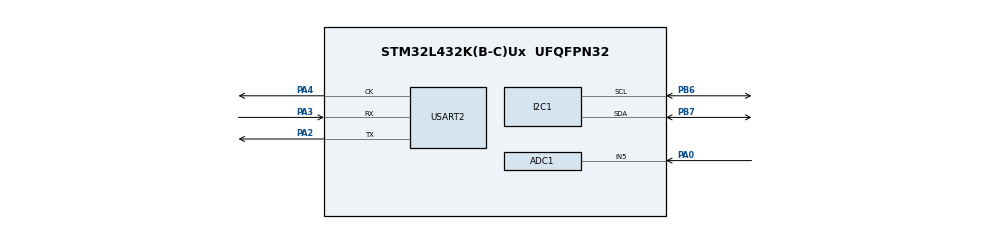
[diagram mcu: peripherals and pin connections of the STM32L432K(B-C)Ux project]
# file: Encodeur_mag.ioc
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ADC1.Channel-0\#ChannelRegularConversion=ADC_CHANNEL_5
ADC1.NbrOfConversionFlag=1
ADC1.OffsetNumber-0\#ChannelRegularConversion=ADC_OFFSET_NONE
ADC1.Rank-0\#ChannelRegularConversion=1
ADC1.SamplingTime-0\#ChannelRegularConversion=ADC_SAMPLETIME_2CYCLES_5
ADC1.master=1
Mcu.Family=STM32L4
Mcu.Name=STM32L432K(B-C)Ux
Mcu.Package=UFQFPN32
NVIC.PriorityGroup=NVIC_PRIORITYGROUP_4
PA0.Signal=ADCx_IN5
PA2.Mode=Synchronous
PA2.Signal=USART2_TX
PA3.Mode=Synchronous
PA3.Signal=USART2_RX
PA4.Mode=Synchronous
PA4.Signal=USART2_CK
PB6.Mode=I2C
PB6.Signal=I2C1_SCL
PB7.Mode=I2C
PB7.Signal=I2C1_SDA
ProjectManager.HeapSize=0x200
ProjectManager.StackSize=0x400
ProjectManager.TargetToolchain=STM32CubeIDE
RCC.HSE_VALUE=8000000
RCC.HSI48_VALUE=48000000
RCC.HSI_VALUE=16000000
RCC.LSE_VALUE=32768
RCC.MSI_VALUE=4000000
RCC.VCOOutputFreq_Value=32000000
SH.ADCx_IN5.0=ADC1_IN5,IN5-Single-Ended
USART2.VirtualMode-Synchronous=VM_SYNC
board=custom

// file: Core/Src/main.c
/* USER CODE BEGIN Header */
/**
  ******************************************************************************
  * @file           : main.c
  * @brief          : Main program body
  ******************************************************************************
  * @attention
  *
  * Copyright (c) 2024 STMicroelectronics.
  * All rights reserved.
  *
  * This software is licensed under terms that can be found in the LICENSE file
  * in the root directory of this software component.
  * If no LICENSE file comes with this software, it is provided AS-IS.
  *
  ******************************************************************************
  */
/* USER CODE END Header */
#include "main.h"

/* USER CODE BEGIN Includes */
#include <string.h>
#include <stdio.h>
#include <stdbool.h>

#include "as5600.h"

/* USER CODE END Includes */

ADC_HandleTypeDef hadc1;

I2C_HandleTypeDef hi2c1;
#define AS5600_I2C &hi2c1

USART_HandleTypeDef husart2;

/* USER CODE BEGIN PV */
static const uint8_t AS5600 = 0x36 << 1;

static const uint8_t ZPOS = 0x01;

static const uint8_t RAW_ANGLE = 0x0C;

static const uint8_t ANGLE = 0x0E;

static const uint8_t MANG = 0x05;

static const uint8_t MPOS = 0x03;

static const uint8_t BURN_ANGLE = 0x80;
static const uint8_t BURN_SETTINGS = 0x40;
static const uint8_t BURN = 0xFF;

static const uint8_t STATUS = 0x0B;

uint16_t angle=0;
char msg[20];

/* USER CODE END PV */

void SystemClock_Config(void);
static void MX_GPIO_Init(void);
static void MX_ADC1_Init(void);
static void MX_I2C1_Init(void);
static void MX_USART2_Init(void);
/* USER CODE BEGIN PFP */
uint32_t const my_i2c_xfer(uint8_t const, uint8_t const * const, size_t const, uint8_t * const,size_t const);
/* USER CODE END PFP */

int main(void)
{
  /* USER CODE BEGIN 1 */
	uint16_t raw_angle;

	uint16_t raw_data;
	uint16_t lowbyte;
	uint16_t highbyte;
	HAL_StatusTypeDef ret;
	uint16_t buf[12];
	int16_t val;

  /* USER CODE END 1 */

  /* MCU Configuration--------------------------------------------------------*/

  /* Reset of all peripherals, Initializes the Flash interface and the Systick. */
  HAL_Init();

  /* Configure the system clock */
  SystemClock_Config();

  /* Initialize all configured peripherals */
  MX_GPIO_Init();
  MX_ADC1_Init();
  MX_I2C1_Init();
  MX_USART2_Init();
  /* USER CODE BEGIN 2 */
  as5600_error_t result = as5600_init(my_i2c_xfer);

  //Configuration des capteurs en i2c

  //	  Step 1 : Power up the AS5600
  //	  Step 2 : Turn the magnet to start position
  //	  Step 3 : Read RAW_ANGLE register

//  static const uint8_t maxAngleMsb = 0x04;
//  static const uint8_t maxAngleLsb = 0x00;
//
//  const uint8_t mang[2] = {maxAngleMsb, maxAngleLsb};
//  HAL_I2C_Mem_Write(AS5600_I2C, AS5600, MANG, 1, mang, 2, HAL_MAX_DELAY);
//  HAL_Delay(2);
//
//  HAL_I2C_Mem_Write(AS5600_I2C, AS5600, BURN, 1, BURN_SETTINGS, 1, HAL_MAX_DELAY);
//  HAL_Delay(2);
//
//  HAL_I2C_Mem_Write(AS5600_I2C, AS5600, BURN, 1, 0x01, 1, HAL_MAX_DELAY);
//  HAL_I2C_Mem_Write(AS5600_I2C, AS5600, BURN, 1, 0x11, 1, HAL_MAX_DELAY);
//  HAL_I2C_Mem_Write(AS5600_I2C, AS5600, BURN, 1, 0x10, 1, HAL_MAX_DELAY);
//
//  HAL_I2C_Mem_Read(AS5600_I2C, AS5600, MANG, 1, mang, 2, HAL_MAX_DELAY);
//  HAL_USART_Transmit(&husart2,mang, strlen((char*)mang), HAL_MAX_DELAY);
//
//  uint8_t rawAngle[2];
//  HAL_I2C_Mem_Read(AS5600_I2C, AS5600, RAW_ANGLE, 1, rawAngle, 2, HAL_MAX_DELAY);
//  val = ((int16_t)rawAngle[0] << 8 | rawAngle[1]);
//
//  sprintf((char*)rawAngle, "%u C\r\n", (unsigned int)val);
//  HAL_USART_Transmit(&husart2,rawAngle, strlen((char*)rawAngle), HAL_MAX_DELAY);
//
//  HAL_I2C_Mem_Write(AS5600_I2C, AS5600, ZPOS, 1, rawAngle, 2, HAL_MAX_DELAY);
//
//  HAL_Delay(2);
//
//  HAL_I2C_Mem_Read(AS5600_I2C, AS5600, RAW_ANGLE, 1, rawAngle, 2, HAL_MAX_DELAY);
//  HAL_I2C_Mem_Write(AS5600_I2C, AS5600, MPOS, 1, rawAngle, 2, HAL_MAX_DELAY);
//  HAL_Delay(2);
//
//  HAL_I2C_Mem_Write(AS5600_I2C, AS5600, BURN, 1, BURN_ANGLE, 1, HAL_MAX_DELAY);
//  HAL_Delay(2);
//
//  HAL_I2C_Mem_Write(AS5600_I2C, AS5600, BURN, 1, 0x01, 1, HAL_MAX_DELAY);
//  HAL_I2C_Mem_Write(AS5600_I2C, AS5600, BURN, 1, 0x11, 1, HAL_MAX_DELAY);
//  HAL_I2C_Mem_Write(AS5600_I2C, AS5600, BURN, 1, 0x10, 1, HAL_MAX_DELAY);
//  HAL_I2C_Mem_Read(AS5600_I2C, AS5600, ZPOS, 1, rawAngle, 2, HAL_MAX_DELAY);
//  HAL_USART_Transmit(&husart2,rawAngle, strlen((char*)rawAngle), HAL_MAX_DELAY);
//
//  HAL_I2C_Mem_Read(AS5600_I2C, AS5600, MPOS, 1, rawAngle, 2, HAL_MAX_DELAY);
//  HAL_USART_Transmit(&husart2,rawAngle, strlen((char*)rawAngle), HAL_MAX_DELAY);

  /* Infinite loop */
  /* USER CODE BEGIN WHILE */
  while (1)
  {
	  //Test seulement les valeurs raw analogique
	  HAL_ADC_Start(&hadc1);
	  HAL_ADC_PollForConversion(&hadc1, 20);
	  angle = HAL_ADC_GetValue(&hadc1);
	  sprintf(msg, "Angle: %hu \r\n", angle);
	  HAL_USART_Transmit(&husart2, (uint8_t *)msg, strlen(msg), HAL_MAX_DELAY);
	  HAL_Delay(200);

	  //Ancien code i2c pour test

	  // Know the value of the raw angle at this moment
//	  as5600_get_raw_angle(&raw_angle);

	  // Convert to string and print
//  	  uint8_t rawAngle[2];
//  	  HAL_I2C_Mem_Read(AS5600_I2C, AS5600, ANGLE, 1, rawAngle, 2, HAL_MAX_DELAY);
//  	  val = ((int16_t)rawAngle[0] << 8 | rawAngle[1]);
//
//	  sprintf((char*)buf, "%hu\r\n", val);
//	  HAL_USART_Transmit(&husart2, buf, strlen((char*)buf), HAL_MAX_DELAY);

//	  HAL_Delay(3000);

//	  as5600_get_angle(&angle);

//	  sprintf((char*)buf, "%hu\r\n", angle);
//	  HAL_USART_Transmit(&husart2, buf, strlen((char*)buf), HAL_MAX_DELAY);

//	  HAL_Delay(100);
//
//	  as5600_error_t as5600_set_start_position(uint16_t const start_position);
//
//	  HAL_Delay(2);
//
//	  as5600_error_t as5600_get_start_position(uint16_t * const p_start_position);

	  // Convert to string and print
//	  sprintf((char*)buf, "%hu\r\n", raw_data);
//	  HAL_USART_Transmit(&husart2, buf, strlen((char*)buf), HAL_MAX_DELAY);
//
//	  HAL_Delay(5000);

	  // Turn the magnet in the CCW direction to reach the final position

	  // Know the value of the raw angle at this moment
//	  as5600_error_t as5600_get_raw_angle(uint16_t * const p_raw_angle);

	  // Convert to string and print
//	  sprintf((char*)buf, "%hu\r\n", raw_data);
//	  HAL_USART_Transmit(&husart2, buf, strlen((char*)buf), HAL_MAX_DELAY);
//
//	  HAL_Delay(3000);

//	  as5600_error_t as5600_set_stop_position(uint16_t const stop_position);
//
//	  HAL_Delay(2);
//
//	  as5600_error_t as5600_get_stop_position(uint16_t * const stop_position);

	  // Convert to string and print
//	  sprintf((char*)buf, "%hu\r\n", raw_data);
//	  HAL_USART_Transmit(&husart2, buf, strlen((char*)buf), HAL_MAX_DELAY);
//
//	  HAL_Delay(3000);
//	  as5600_error_t as5600_set_output_stage(as5600_output_stage_t const output_stage, as5600_configuration_t * const p_config);

//////////////////////////////////////////////////////////////////////////////////

//////////////////////////////////////////////////////////////////////////////////////
//
//	  HAL_USART_Transmit(&husart2,buf, strlen((char*)buf), HAL_MAX_DELAY);

    /* USER CODE END WHILE */

  }
}

void SystemClock_Config(void)
{
  RCC_OscInitTypeDef RCC_OscInitStruct = {0};
  RCC_ClkInitTypeDef RCC_ClkInitStruct = {0};

  /** Configure the main internal regulator output voltage
  */
  if (HAL_PWREx_ControlVoltageScaling(PWR_REGULATOR_VOLTAGE_SCALE1) != HAL_OK)
  {
    Error_Handler();
  }

  /** Initializes the RCC Oscillators according to the specified parameters
  * in the RCC_OscInitTypeDef structure.
  */
  RCC_OscInitStruct.OscillatorType = RCC_OSCILLATORTYPE_MSI;
  RCC_OscInitStruct.MSIState = RCC_MSI_ON;
  RCC_OscInitStruct.MSICalibrationValue = 0;
  RCC_OscInitStruct.MSIClockRange = RCC_MSIRANGE_6;
  RCC_OscInitStruct.PLL.PLLState = RCC_PLL_NONE;
  if (HAL_RCC_OscConfig(&RCC_OscInitStruct) != HAL_OK)
  {
    Error_Handler();
  }

  /** Initializes the CPU, AHB and APB buses clocks
  */
  RCC_ClkInitStruct.ClockType = RCC_CLOCKTYPE_HCLK|RCC_CLOCKTYPE_SYSCLK
                              |RCC_CLOCKTYPE_PCLK1|RCC_CLOCKTYPE_PCLK2;
  RCC_ClkInitStruct.SYSCLKSource = RCC_SYSCLKSOURCE_MSI;
  RCC_ClkInitStruct.AHBCLKDivider = RCC_SYSCLK_DIV1;
  RCC_ClkInitStruct.APB1CLKDivider = RCC_HCLK_DIV1;
  RCC_ClkInitStruct.APB2CLKDivider = RCC_HCLK_DIV1;

  if (HAL_RCC_ClockConfig(&RCC_ClkInitStruct, FLASH_LATENCY_0) != HAL_OK)
  {
    Error_Handler();
  }
}

static void MX_ADC1_Init(void)
{

  ADC_ChannelConfTypeDef sConfig = {0};

  /** Common config
  */
  hadc1.Instance = ADC1;
  hadc1.Init.ClockPrescaler = ADC_CLOCK_ASYNC_DIV1;
  hadc1.Init.Resolution = ADC_RESOLUTION_12B;
  hadc1.Init.DataAlign = ADC_DATAALIGN_RIGHT;
  hadc1.Init.ScanConvMode = ADC_SCAN_DISABLE;
  hadc1.Init.EOCSelection = ADC_EOC_SINGLE_CONV;
  hadc1.Init.LowPowerAutoWait = DISABLE;
  hadc1.Init.ContinuousConvMode = DISABLE;
  hadc1.Init.NbrOfConversion = 1;
  hadc1.Init.DiscontinuousConvMode = DISABLE;
  hadc1.Init.ExternalTrigConv = ADC_SOFTWARE_START;
  hadc1.Init.ExternalTrigConvEdge = ADC_EXTERNALTRIGCONVEDGE_NONE;
  hadc1.Init.DMAContinuousRequests = DISABLE;
  hadc1.Init.Overrun = ADC_OVR_DATA_PRESERVED;
  hadc1.Init.OversamplingMode = DISABLE;
  if (HAL_ADC_Init(&hadc1) != HAL_OK)
  {
    Error_Handler();
  }

  /** Configure Regular Channel
  */
  sConfig.Channel = ADC_CHANNEL_5;
  sConfig.Rank = ADC_REGULAR_RANK_1;
  sConfig.SamplingTime = ADC_SAMPLETIME_2CYCLES_5;
  sConfig.SingleDiff = ADC_SINGLE_ENDED;
  sConfig.OffsetNumber = ADC_OFFSET_NONE;
  sConfig.Offset = 0;
  if (HAL_ADC_ConfigChannel(&hadc1, &sConfig) != HAL_OK)
  {
    Error_Handler();
  }

}

static void MX_I2C1_Init(void)
{

  hi2c1.Instance = I2C1;
  hi2c1.Init.Timing = 0x00000E14;
  hi2c1.Init.OwnAddress1 = 0;
  hi2c1.Init.AddressingMode = I2C_ADDRESSINGMODE_7BIT;
  hi2c1.Init.DualAddressMode = I2C_DUALADDRESS_DISABLE;
  hi2c1.Init.OwnAddress2 = 0;
  hi2c1.Init.OwnAddress2Masks = I2C_OA2_NOMASK;
  hi2c1.Init.GeneralCallMode = I2C_GENERALCALL_DISABLE;
  hi2c1.Init.NoStretchMode = I2C_NOSTRETCH_DISABLE;
  if (HAL_I2C_Init(&hi2c1) != HAL_OK)
  {
    Error_Handler();
  }

  /** Configure Analogue filter
  */
  if (HAL_I2CEx_ConfigAnalogFilter(&hi2c1, I2C_ANALOGFILTER_ENABLE) != HAL_OK)
  {
    Error_Handler();
  }

  /** Configure Digital filter
  */
  if (HAL_I2CEx_ConfigDigitalFilter(&hi2c1, 0) != HAL_OK)
  {
    Error_Handler();
  }

}

static void MX_USART2_Init(void)
{

  husart2.Instance = USART2;
  husart2.Init.BaudRate = 115200;
  husart2.Init.WordLength = USART_WORDLENGTH_8B;
  husart2.Init.StopBits = USART_STOPBITS_1;
  husart2.Init.Parity = USART_PARITY_NONE;
  husart2.Init.Mode = USART_MODE_TX_RX;
  husart2.Init.CLKPolarity = USART_POLARITY_LOW;
  husart2.Init.CLKPhase = USART_PHASE_1EDGE;
  husart2.Init.CLKLastBit = USART_LASTBIT_DISABLE;
  if (HAL_USART_Init(&husart2) != HAL_OK)
  {
    Error_Handler();
  }

}

static void MX_GPIO_Init(void)
{

  /* GPIO Ports Clock Enable */
  __HAL_RCC_GPIOA_CLK_ENABLE();
  __HAL_RCC_GPIOB_CLK_ENABLE();

}

/* USER CODE BEGIN 4 */

uint32_t const my_i2c_xfer(uint8_t const slave_address,
                           uint8_t const * const p_tx_buffer,
                           size_t const tx_buffer_size,
                           uint8_t * const p_rx_buffer,
                           size_t const rx_buffer_size)
{

        uint32_t const timeout = 100;
        HAL_StatusTypeDef result = HAL_OK;
        bool is_rx_operation = true;

        if ((NULL == p_tx_buffer) || (0 == tx_buffer_size)) {
                result = HAL_ERROR;

        } else if ((NULL == p_rx_buffer) || (0 == rx_buffer_size)) {
                is_rx_operation = false;
        }

        if (HAL_OK == result) {
                // TX operation
                result = HAL_I2C_Master_Transmit(&hi2c1,
                                                 slave_address,
                                                 p_tx_buffer,
                                                 (uint16_t)tx_buffer_size,
                                                 timeout);
        }

        if ((HAL_OK == result) && (is_rx_operation)) {
                // RX operation
                result = HAL_I2C_Master_Receive(&hi2c1,
                                                slave_address,
                                                p_rx_buffer,
                                                rx_buffer_size,
                                                timeout);
        }

        return result;
}

//void mag_enc_analog(void)
//{
//	  HAL_GPIO_WritePin(GPIOA, GPIO_PIN_12, GPIO_PIN_SET);
//
//	  // Get ADC value
//	  HAL_ADC_Start(&hadc1);
//	  HAL_ADC_PollForConversion(&hadc1, HAL_MAX_DELAY);
//	  raw_data = HAL_ADC_GetValue(&hadc1);
//
//	  // Test : Set GPIO pin low
//	  HAL_GPIO_WritePin(GPIOA, GPIO_PIN_12, GPIO_PIN_RESET);
//
//	  // Convert to string and print
//	  sprintf(msg, "%hu\r\n", raw_data);
//	  HAL_USART_Transmit(&husart2, (uint8_t*)msg, strlen(msg), HAL_MAX_DELAY);
//
//	 //Pretend we have something else to do for a while
//	  HAL_Delay(1);
//}
/* USER CODE END 4 */

void Error_Handler(void)
{
  __disable_irq();
  while (1)
  {
  }
}
